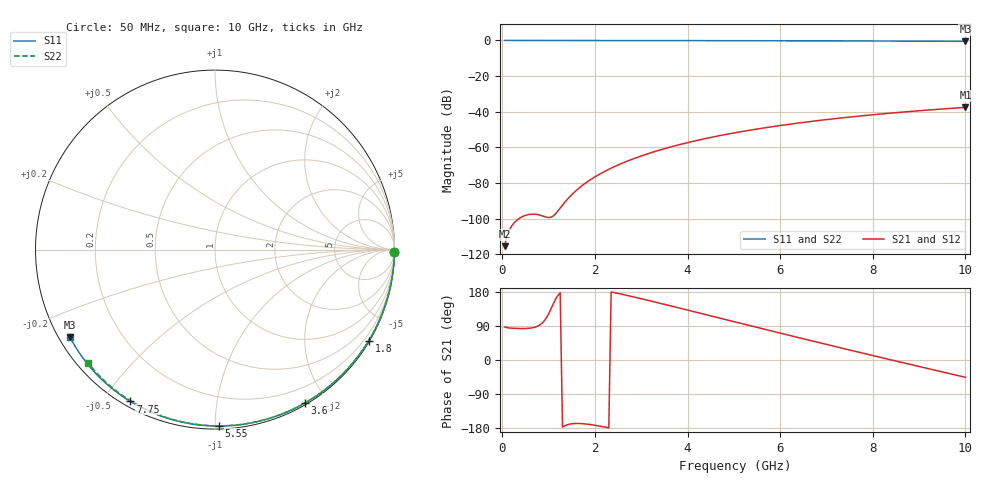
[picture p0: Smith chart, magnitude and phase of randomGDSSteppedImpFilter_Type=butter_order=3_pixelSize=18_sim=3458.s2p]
! freq	dB(S11)	phase(S11)	dB(S12)	phase(S12)
!  dB(S21)	phase(S21)	dB(S22)	phase(S22)
!S-par simulation data
#  GHz  S  DB  R 50
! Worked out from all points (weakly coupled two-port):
!   200 points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, 50 MHz to 10 GHz, reference 50 ohm
!   highest |S21| = -37.54 dB at 10 GHz (marker M1); lowest = -115.4 dB at 50 MHz (marker M2)
!   lowest |S11| = -0.5 dB at 10 GHz (marker M3), VSWR 34.57, Z = 1.56 - j13.9 ohm
!   |S11| at or under -10 dB: nowhere
!   |S22| runs from -0.5 to 0.0 dB; largest |S21 - S12| = 0
!   S11 on the Smith chart (normalised r, x): 50 MHz: open; 1.8 GHz: 0.03, -3.66; 3.6 GHz: 0.02, -1.74; 5.55 GHz: 0.02, -1.02; 7.75 GHz: 0.02, -0.59; 10 GHz: 0.03, -0.28
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0.05  -0.00 -0.9  -115.39 87.2  -115.39 87.2  -0.00 -0.8
0.45  -0.01 -7.8  -98.62 83.0  -98.62 83.0  -0.01 -7.2
0.9  -0.02 -15.5  -98.69 102.3  -98.69 102.3  -0.02 -14.3
1.3  -0.03 -22.2  -92.34 -177.3  -92.34 -177.3  -0.03 -20.6
1.75  -0.04 -29.8  -80.89 -168.2  -80.89 -168.2  -0.04 -27.6
1.8  -0.04 -30.6  -79.93 -168.8  -79.93 -168.8  -0.04 -28.4
1.95  -0.04 -33.1  -77.32 -171.2  -77.32 -171.2  -0.04 -30.7
2.1  -0.05 -35.6  -75.01 -174.2  -75.01 -174.2  -0.04 -33.0
2.3  -0.05 -38.8  -72.27 -179.0  -72.27 -179.0  -0.05 -36.1
2.5  -0.05 -42.1  -69.85 175.8  -69.85 175.8  -0.05 -39.1
2.9  -0.06 -48.6  -65.70 164.6  -65.70 164.6  -0.06 -45.1
3.4  -0.08 -56.5  -61.46 149.9  -61.46 149.9  -0.07 -52.5
3.6  -0.08 -59.6  -59.97 143.9  -59.97 143.9  -0.07 -55.5
4.3  -0.10 -70.4  -55.51 122.7  -55.51 122.7  -0.09 -65.5
5.05  -0.13 -81.5  -51.65 99.8  -51.65 99.8  -0.12 -75.9
5.55  -0.15 -88.8  -49.47 84.6  -49.47 84.6  -0.14 -82.7
6.1  -0.17 -96.6  -47.35 68.0  -47.35 68.0  -0.16 -90.0
6.7  -0.20 -104.9  -45.31 50.0  -45.31 50.0  -0.19 -97.8
7.75  -0.28 -119.1  -42.30 19.0  -42.30 19.0  -0.26 -111.0
8.35  -0.33 -127.1  -40.84 1.6  -40.84 1.6  -0.30 -118.4
9.2  -0.41 -138.3  -39.02 -22.9  -39.02 -22.9  -0.38 -128.8
10  -0.50 -148.9  -37.54 -45.6  -37.54 -45.6  -0.47 -138.4
